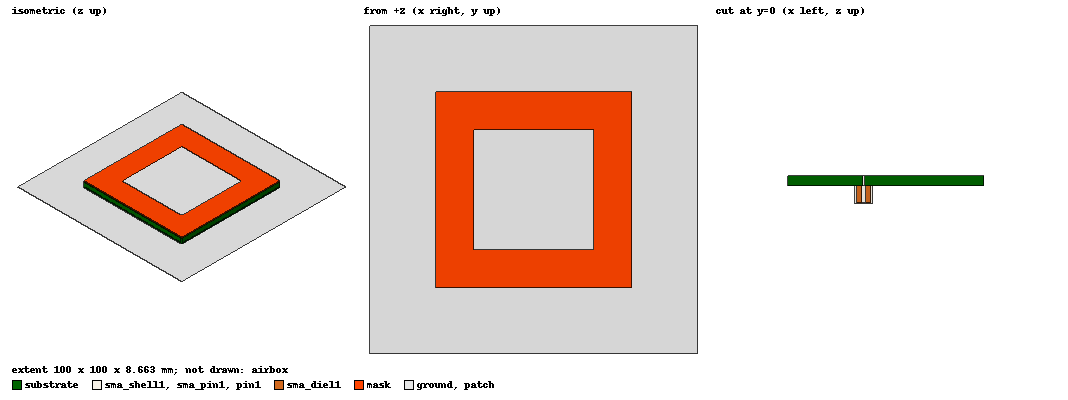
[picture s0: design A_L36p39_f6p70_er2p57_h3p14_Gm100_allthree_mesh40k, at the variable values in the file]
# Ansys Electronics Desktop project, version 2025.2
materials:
  vacuum: permittivity=1
  sma_ptfe: permittivity=2.1 permeability=1 dielectric_loss_tangent=0.0004
  substrate_design: permittivity=2.57 permeability=1 dielectric_loss_tangent=0.0018
  solder_mask: permittivity=3.8 permeability=1 dielectric_loss_tangent=0.025
  copper: permeability=0.999991 conductivity=58000000
  pec: conductivity=1e+30

design A_L36p39_f6p70_er2p57_h3p14_Gm100_allthree_mesh40k (HFSS, HFSS Modal Network, model units mm)
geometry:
  substrate [substrate_design] = box(corner=(-30mm, -30mm, 0mm), size=(60mm, 60mm, 3.138mm))
  ground = rectangle(corner=(-50mm, -50mm, 0mm), x_size=100mm, y_size=100mm)
  hole1 = circle(normal=Z, centre=(6.7mm, 0mm, 0mm), radius=0.8mm)
  ground.subtract(hole1)
  hole2 = circle(normal=Z, centre=(0mm, 6.7mm, 0mm), radius=0.8mm)
  ground.subtract(hole2)
  patch = polyline(z=3.138mm, xy in mm: (-18.195, 18.195) (18.195, 18.195) (18.195, -18.195) (-18.195, -18.195) (-18.195, 18.195), closed, covered)
  mask [solder_mask] = box(corner=(-30mm, -30mm, 3.138mm), size=(60mm, 60mm, 0.025mm))
  mask_opening = polyline(z=3.138mm, xy in mm: (-18.195, 18.195) (18.195, 18.195) (18.195, -18.195) (-18.195, -18.195) (-18.195, 18.195), closed, covered)
  mask_opening.sweep_along_vector((0mm, 0mm, 0.025mm))
  mask.subtract(mask_opening)
  pin1 [pec] = cylinder(axis=Z, base_centre=(6.7mm, 0mm, 0mm), radius=0.25mm, height=3.138mm)
  pin1_1 = pin1.copy()
  substrate.subtract(pin1_1)
  sma_shell1 [pec] = cylinder(axis=Z, base_centre=(6.7mm, 0mm, -5.5mm), radius=2.6261016mm, height=5.5mm)
  sma_diel1 [sma_ptfe] = cylinder(axis=Z, base_centre=(6.7mm, 0mm, -5mm), radius=2.1261016mm, height=5mm)
  sma_diel1_1 = sma_diel1.copy()
  sma_shell1.subtract(sma_diel1_1)
  sma_pin1 [pec] = cylinder(axis=Z, base_centre=(6.7mm, 0mm, -5mm), radius=0.635mm, height=5mm)
  sma_pin1_1 = sma_pin1.copy()
  sma_diel1.subtract(sma_pin1_1)
  pin2 [pec] = cylinder(axis=Z, base_centre=(0mm, 6.7mm, 0mm), radius=0.25mm, height=3.138mm)
  pin2_1 = pin2.copy()
  substrate.subtract(pin2_1)
  sma_shell2 [pec] = cylinder(axis=Z, base_centre=(0mm, 6.7mm, -5.5mm), radius=2.6261016mm, height=5.5mm)
  sma_diel2 [sma_ptfe] = cylinder(axis=Z, base_centre=(0mm, 6.7mm, -5mm), radius=2.1261016mm, height=5mm)
  sma_diel2_1 = sma_diel2.copy()
  sma_shell2.subtract(sma_diel2_1)
  sma_pin2 [pec] = cylinder(axis=Z, base_centre=(0mm, 6.7mm, -5mm), radius=0.635mm, height=5mm)
  sma_pin2_1 = sma_pin2.copy()
  sma_diel2.subtract(sma_pin2_1)
  airbox [vacuum] = box(corner=(-80.906439mm, -80.906439mm, -36.406439mm), size=(161.81288mm, 161.81288mm, 70.475878mm))
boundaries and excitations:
  Cu_sheets: Finite Conductivity Objects=[patch, ground] UseMaterial Material=copper Roughness=0mm IsInternal
  Rad__OB2FK9: Radiation Objects=airbox
  P1: Wave Port Faces=sma_diel1.face(-z end) WavePortType=Modal NumModes=1 DeembedDist=5mm Modes{Mode1{IntLine{(7.335, 0, -5) -> (8.8261016, 0, -5)} CharImp=Zpi RenormImp=50ohm}}
  P2: Wave Port Faces=sma_diel2.face(-z end) WavePortType=Modal NumModes=1 DeembedDist=5mm Modes{Mode1{IntLine{(0.635, 6.7, -5) -> (2.1261016, 6.7, -5)} CharImp=Zpi RenormImp=50ohm}}
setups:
  Setup1: HfssDriven Frequency=2.425GHz MaxDeltaS=1e-05 MaximumPasses=9 MinimumPasses=1 MinimumConvergedPasses=2 PercentRefinement=30 BasisOrder=1 PortAccuracy=2 DrivenSolverType="Direct Solver"
    sweep S: 2.2GHz to 2.65GHz, 901 points; Type=Interpolating InterpTolerance=0.5 InterpMaxSolns=250 InterpUsePortImped=false PassivityErrorTolerance=0.0001
    sweep FF: 2.365GHz to 2.485GHz step 0.005GHz; Type=Discrete SaveFields
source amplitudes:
  P1:1: 1W 0deg
  P2:1: 1W -90deg
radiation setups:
  ff: Infinite Sphere Theta=-180deg..180deg step 2deg Phi=0deg..90deg step 90deg
